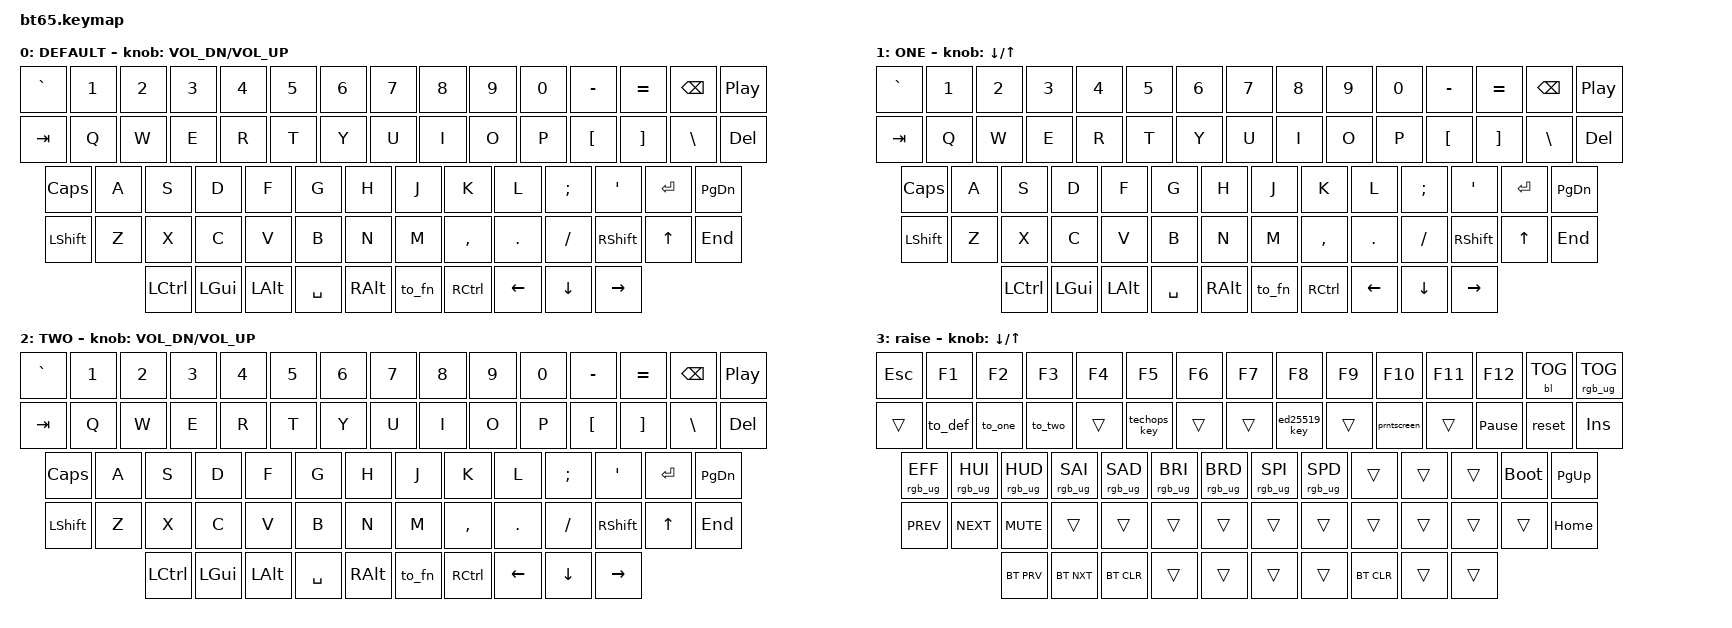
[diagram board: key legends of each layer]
#include <behaviors.dtsi>
#include <dt-bindings/zmk/keys.h>
#include <dt-bindings/zmk/bt.h>
#include <dt-bindings/zmk/rgb.h>
#include <dt-bindings/zmk/backlight.h>
#include <dt-bindings/zmk/ext_power.h>
#define DEFAULT 0
#define ONE		1
#define TWO     2
#define raise   3

/ {
    macros {
        prntscreen: prntscreen {
            label = "ZM_prntscreen";
            compatible = "zmk,behavior-macro";
            #binding-cells = <0>;
            bindings
                = <&macro_press &kp LEFT_GUI>
                , <&macro_press &kp LSHFT>
				, <&macro_tap &kp S>
				, <&macro_release &kp LEFT_GUI>
                , <&macro_release &kp LSHFT>
                ;
        };
		techops_key: techops_key {
            label = "ZM_techops_key";
            compatible = "zmk,behavior-macro";
            #binding-cells = <0>;
			wait-ms = <40>;
			tap-ms = <10>;
            bindings
                = <&kp TILDE &kp SLASH &kp PERIOD &kp S &kp S &kp H &kp SLASH &kp T &kp E &kp C &kp H &kp O &kp P &kp S &kp UNDERSCORE &kp S &kp H &kp A &kp R &kp E &kp D &kp PERIOD &kp P &kp E &kp M>
                ;
        };
		ed25519_key: ed25519_key {
            label = "ZM_ed25519_key";
            compatible = "zmk,behavior-macro";
            #binding-cells = <0>;
			wait-ms = <20>;
			tap-ms = <2>;
            bindings
                = <&kp TILDE &kp SLASH &kp PERIOD &kp S &kp S &kp H &kp SLASH &kp I &kp D &kp UNDERSCORE &kp E &kp D &kp NUMBER_2 &kp NUMBER_5 &kp NUMBER_5 &kp NUMBER_1 &kp NUMBER_9>
                ;
        };
		to_fn: to_fn {
			label = "ZM_to_fn"; 
            compatible = "zmk,behavior-macro";
			wait-ms = <0>;
			tap-ms = <0>;
			#binding-cells = <0>;
			bindings
				= <&macro_press &mo 3>
				, <&macro_tap &rgb_ug RGB_COLOR_HSB(35,86,86)>
				, <&macro_pause_for_release>
				, <&macro_release &mo 3>
				;
		};
		to_def: to_def{
			label = "ZM_d";
            compatible = "zmk,behavior-macro";
			wait-ms = <0>;
			tap-ms = <0>;
			#binding-cells = <0>;
			bindings
				= <&macro_tap &to 0>
				, <&macro_tap &rgb_ug RGB_COLOR_HSB(230,86,86)>
				;
		};
		to_one: to_one{
			label = "ZM_one";
            compatible = "zmk,behavior-macro";
			wait-ms = <0>;
			tap-ms = <0>;
			#binding-cells = <0>;
			bindings
				= <&macro_tap &to 1>
				, <&macro_tap &rgb_ug RGB_COLOR_HSB(0,100,100)>
				;
		};
		to_two: to_two{
			label = "ZM_D";
            compatible = "zmk,behavior-macro";
			wait-ms = <0>;
			tap-ms = <0>;
			#binding-cells = <0>;
			bindings
				= <&macro_tap &to 2>
				, <&macro_tap &rgb_ug RGB_COLOR_HSB(5945,100,100)>
				;
		};
    };
};


/ {
	keymap {
		compatible = "zmk,keymap";

		DEFAULT {
				// ------------------------------------------------------------------------------------------------------------
				// |  `  |  1  |  2  |  3  |  4  |  5  |  6  |  7  |  8  |  9  |  0  |  -  |  =  |BKSP | INS		|
				// | TAB  |  Q  |  W  |  E  |  R  |  T  |  Y  |  U  |  I  |  O  |  P  |  [  |  ]  |   \    | DEL		|
				// | CAPS  |  A  |  S  |  D  |  F  |  G  |  H  |  J  |  K  |  L  |  ;  |  '  |     ENTER    |PGUP	|
				// |  SHIFT  |  Z  |  X  |  C  |  V  |  B  |  N  |  M  |  ,  |  .  | /   |   SHIFT  | UP   | PGDN|
				// |  CTL  |  WIN  |  ALT  |            SPACE               | ALT | 1    |  MENU| LEFT |  DOWN    | RIGHT	|
				// ------------------------------------------------------------------------------------------------------------
			bindings = <

				&kp GRAVE &kp N1 &kp N2 &kp N3 &kp N4 &kp N5 &kp N6 &kp N7 &kp  N8   &kp  N9   &kp N0 &kp MINUS &kp EQUAL &kp BKSP &kp C_PP
				&kp TAB  &kp Q  &kp W  &kp E  &kp R  &kp T  &kp Y  &kp U  &kp  I    &kp  O  &kp  P   &kp LBKT &kp RBKT  	&kp BSLH &kp DEL
				&kp CLCK  &kp A  &kp S  &kp D  &kp F  &kp G  &kp H  &kp J  &kp  K    &kp  L  &kp SEMI &kp SQT           	&kp RET &kp PG_DN
				&kp LSHFT &kp Z  &kp X  &kp C  &kp V  &kp B  &kp N  &kp M  &kp COMMA &kp DOT &kp FSLH   &kp RSHFT &kp UP &kp END
				&kp LCTRL &kp LGUI &kp LALT            &kp SPACE                          &kp RALT  &to_fn &kp RCTRL &kp LEFT &kp DOWN &kp RIGHT
			>;
			sensor-bindings = <&inc_dec_kp C_VOL_DN C_VOL_UP>;
		};
		ONE {
			bindings = <

				&kp GRAVE &kp N1 &kp N2 &kp N3 &kp N4 &kp N5 &kp N6 &kp N7 &kp  N8   &kp  N9   &kp N0 &kp MINUS &kp EQUAL &kp BKSP &kp C_PP
				&kp TAB  &kp Q  &kp W  &kp E  &kp R  &kp T  &kp Y  &kp U  &kp  I    &kp  O  &kp  P   &kp LBKT &kp RBKT  	&kp BSLH &kp DEL
				&kp CLCK  &kp A  &kp S  &kp D  &kp F  &kp G  &kp H  &kp J  &kp  K    &kp  L  &kp SEMI &kp SQT           	&kp RET &kp PG_DN
				&kp LSHFT &kp Z  &kp X  &kp C  &kp V  &kp B  &kp N  &kp M  &kp COMMA &kp DOT &kp FSLH   &kp RSHFT &kp UP &kp END
				&kp LCTRL &kp LGUI &kp LALT            &kp SPACE                          &kp RALT  &to_fn &kp RCTRL &kp LEFT &kp DOWN &kp RIGHT
			>;
			sensor-bindings = <&inc_dec_kp DOWN_ARROW UP_ARROW>;
		};
		TWO {
			bindings = <

				&kp GRAVE &kp N1 &kp N2 &kp N3 &kp N4 &kp N5 &kp N6 &kp N7 &kp  N8   &kp  N9   &kp N0 &kp MINUS &kp EQUAL &kp BKSP &kp C_PP
				&kp TAB  &kp Q  &kp W  &kp E  &kp R  &kp T  &kp Y  &kp U  &kp  I    &kp  O  &kp  P   &kp LBKT &kp RBKT  	&kp BSLH &kp DEL
				&kp CLCK  &kp A  &kp S  &kp D  &kp F  &kp G  &kp H  &kp J  &kp  K    &kp  L  &kp SEMI &kp SQT           	&kp RET &kp PG_DN
				&kp LSHFT &kp Z  &kp X  &kp C  &kp V  &kp B  &kp N  &kp M  &kp COMMA &kp DOT &kp FSLH   &kp RSHFT &kp UP &kp END
				&kp LCTRL &kp LGUI &kp LALT            &kp SPACE                          &kp RALT  &to_fn &kp RCTRL &kp LEFT &kp DOWN &kp RIGHT
			>;
			sensor-bindings = <&inc_dec_kp C_VOL_DN C_VOL_UP>;
		};
		raise {
			bindings = <
				&kp ESC &kp F1 &kp F2 &kp F3 &kp F4 &kp F5 &kp F6 &kp F7 &kp  F8   &kp  F9   &kp F10  &kp F11 &kp F12 &bl BL_TOG &rgb_ug RGB_TOG
				&trans &to_def &to_one &to_two &trans &techops_key &trans &trans &ed25519_key &trans &prntscreen &trans &kp PAUSE_BREAK &reset &kp INS
				&rgb_ug RGB_EFF &rgb_ug RGB_HUI &rgb_ug RGB_HUD &rgb_ug RGB_SAI &rgb_ug RGB_SAD &rgb_ug RGB_BRI &rgb_ug RGB_BRD &rgb_ug RGB_SPI &rgb_ug RGB_SPD &trans &trans  &trans   &bootloader &kp PG_UP
				&kp C_PREV &kp C_NEXT &kp C_MUTE &trans &trans &trans &trans &trans &trans &trans &trans  &trans &trans &kp HOME
				&bt BT_PRV &bt BT_NXT  &bt BT_CLR     &trans                            &trans   &trans   &trans &bt BT_CLR &trans &trans
			>;
			sensor-bindings = <&inc_dec_kp DOWN_ARROW UP_ARROW>;
		};
	};
};
